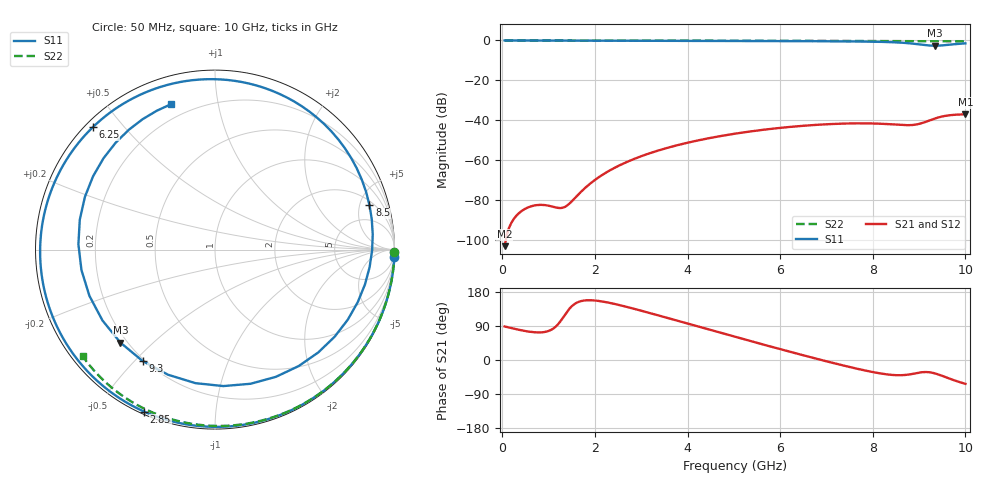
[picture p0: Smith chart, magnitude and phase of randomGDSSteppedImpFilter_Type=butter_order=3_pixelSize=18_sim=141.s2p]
! freq	dB(S11)	phase(S11)	dB(S12)	phase(S12)
!  dB(S21)	phase(S21)	dB(S22)	phase(S22)
!S-par simulation data
#  GHz  S  DB  R 50
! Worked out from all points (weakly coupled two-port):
!   200 points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, 50 MHz to 10 GHz, reference 50 ohm
!   highest |S21| = -36.96 dB at 10 GHz (marker M1); lowest = -102.9 dB at 50 MHz (marker M2)
!   lowest |S11| = -2.6 dB at 9.35 GHz (marker M3), VSWR 6.66, Z = 8.73 - j19.9 ohm
!   |S11| at or under -10 dB: nowhere
!   |S22| runs from -0.5 to 0.0 dB; largest |S21 - S12| = 0
!   S11 on the Smith chart (normalised r, x): 50 MHz: 0, -52; 2.85 GHz: 0.01, -0.65; 6.25 GHz: 0.02, +0.41; 8.5 GHz: 2.44, +6.13; 9.3 GHz: 0.19, -0.53; 10 GHz: 0.13, +0.73
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0.05  -0.00 -2.2  -102.91 88.4  -102.91 88.4  -0.00 -0.8
0.7  -0.04 -30.5  -82.53 73.2  -82.53 73.2  -0.01 -11.4
1.5  -0.08 -63.6  -80.48 141.8  -80.48 141.8  -0.03 -24.2
1.75  -0.09 -73.5  -74.60 156.6  -74.60 156.6  -0.04 -28.1
2.85  -0.13 -113.7  -59.24 135.0  -59.24 135.0  -0.06 -45.2
3.4  -0.15 -132.1  -54.83 116.7  -54.83 116.7  -0.07 -53.4
4.25  -0.19 -159.5  -49.89 87.6  -49.89 87.6  -0.09 -65.9
5.05  -0.24 175.2  -46.55 60.4  -46.55 60.4  -0.12 -77.2
6.25  -0.32 135.0  -43.17 20.5  -43.17 20.5  -0.17 -93.5
6.7  -0.36 118.3  -42.34 6.0  -42.34 6.0  -0.19 -99.4
7.65  -0.51 75.9  -41.46 -22.7  -41.46 -22.7  -0.25 -111.6
8  -0.61 55.6  -41.53 -31.8  -41.53 -31.8  -0.28 -116.0
8.35  -0.81 29.9  -41.88 -38.6  -41.88 -38.6  -0.31 -120.4
8.5  -0.96 16.1  -42.11 -40.0  -42.11 -40.0  -0.32 -122.3
8.7  -1.24 -6.5  -42.36 -39.5  -42.36 -39.5  -0.34 -124.8
8.9  -1.67 -36.0  -42.18 -35.7  -42.18 -35.7  -0.36 -127.3
9.1  -2.23 -75.1  -41.06 -31.9  -41.06 -31.9  -0.38 -129.8
9.3  -2.61 -123.0  -39.36 -34.1  -39.36 -34.1  -0.40 -132.3
9.35  -2.63 -135.5  -38.96 -35.7  -38.96 -35.7  -0.40 -132.9
9.6  -2.25 167.5  -37.60 -46.5  -37.60 -46.5  -0.43 -136.1
9.8  -1.80 132.9  -37.14 -55.3  -37.14 -55.3  -0.45 -138.6
10  -1.45 106.8  -36.96 -62.8  -36.96 -62.8  -0.47 -141.2
